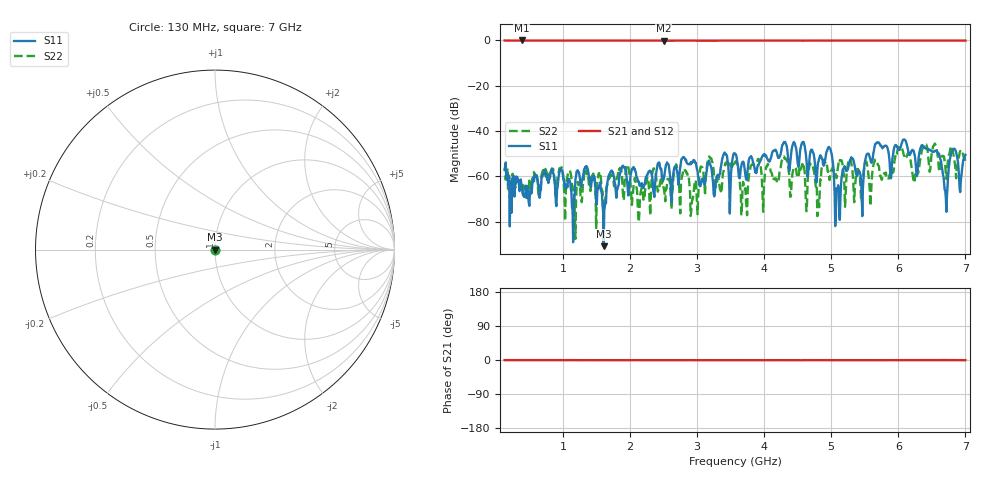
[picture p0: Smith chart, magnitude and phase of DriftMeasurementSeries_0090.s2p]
# Hz S RI R 50.000000
! Metas.Vna.Tools, 2.8.8664.20301
! Metas.Vna.Data, 2.8.8664.20285
! Created: UTC 2024.02.11 10:08:49
! FREQ  re:S1,1  im:S1,1  re:S2,1  im:S2,1  re:S1,2  im:S1,2  re:S2,2  im:S2,2
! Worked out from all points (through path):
!   801 points, 130 MHz to 7 GHz, reference 50 ohm
!   highest |S21| = -0.01 dB at 387.6 MHz (marker M1); lowest = -0.1 dB at 2.5 GHz (marker M2)
!   lowest |S11| = -90.8 dB at 1.607 GHz (marker M3), VSWR 1.00, Z = 50 + j0.00288 ohm
!   |S11| at or under -10 dB: start of sweep to end of sweep
!   |S22| runs from -87.6 to -45.5 dB; largest |S21 - S12| = 0.016
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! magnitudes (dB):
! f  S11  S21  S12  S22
! 130 MHz  -57.1  0.0  0.0  -57.2
! 387.6 MHz  -64.1  0.0  0.0  -63.8
! 1.281 GHz  -62.0  0.0  0.0  -71.4
! 1.607 GHz  -90.8  -0.1  0.0  -74.1
! 1.71 GHz  -57.9  -0.1  0.0  -59.5
! 2.423 GHz  -54.2  -0.1  0.0  -66.2
! 2.5 GHz  -61.4  -0.1  0.0  -64.8
! 3.565 GHz  -49.9  -0.1  0.0  -53.7
! 3.72 GHz  -58.8  -0.1  0.0  -65.2
! 3.891 GHz  -57.0  -0.1  0.0  -53.5
! 4.716 GHz  -48.3  -0.1  0.0  -54.8
! 4.793 GHz  -57.1  -0.1  0.0  -77.6
! 4.982 GHz  -47.7  -0.1  0.0  -60.2
! 5.094 GHz  -65.6  -0.1  0.0  -57.3
! 5.3 GHz  -51.6  -0.1  0.0  -54.2
! 5.446 GHz  -62.9  -0.1  0.0  -70.5
! 5.678 GHz  -45.3  -0.1  0.0  -53.6
! 5.858 GHz  -50.1  -0.1  0.0  -60.7
! 6.571 GHz  -48.7  -0.1  0.0  -47.8
! 6.708 GHz  -69.2  -0.1  0.0  -58.6
! 6.811 GHz  -47.9  -0.1  0.0  -48.8
! 7 GHz  -50.5  -0.1  0.0  -53.4
